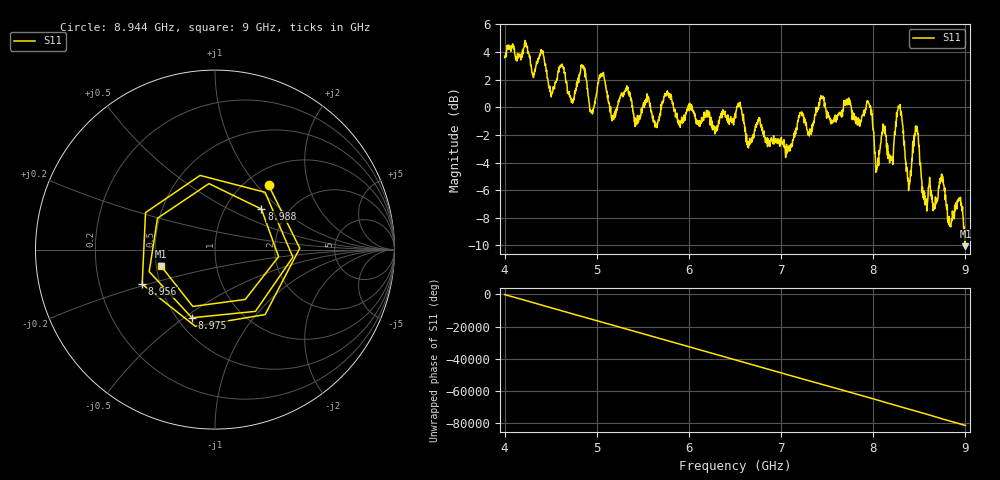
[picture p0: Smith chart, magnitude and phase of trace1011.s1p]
! Created with skrf 1.8.0 (http://scikit-rf.org).
# Hz S RI R 50.0
!freq ReS11 ImS11
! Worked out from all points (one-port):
!   1601 points, 4 GHz to 9 GHz, reference 50 ohm
!   lowest |S11| = -10.1 dB at 9 GHz (marker M1), VSWR 1.92, Z = 26.5 - j5.39 ohm
!   |S11| at or under -10 dB: 8.999763 GHz to end of sweep
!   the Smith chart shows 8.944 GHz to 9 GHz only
!   S11 on the Smith chart (normalised r, x): 8.944 GHz: 1.26, +1.16; 8.956 GHz: 0.40, -0.19; 8.975 GHz: 0.59, -0.54; 8.988 GHz: 1.47, +0.75; 9 GHz: 0.53, -0.11
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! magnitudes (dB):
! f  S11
! 4 GHz  3.6
! 4.403 GHz  4.1
! 4.506 GHz  0.8
! 4.625 GHz  3.1
! 4.731 GHz  0.4
! 4.853 GHz  3.0
! 4.944 GHz  -0.4
! 5.05 GHz  2.2
! 5.172 GHz  -0.6
! 5.25 GHz  0.6
! 5.875 GHz  -0.7
! 6.5 GHz  -0.7
! 7.125 GHz  -2.4
! 7.441 GHz  0.7
! 7.75 GHz  0.2
! 7.956 GHz  0.2
! 8.041 GHz  -4.4
! 8.112 GHz  -1.5
! 8.194 GHz  -3.8
! 8.288 GHz  0.0
! 8.375 GHz  -5.2
! 8.466 GHz  -1.4
! 8.562 GHz  -6.4
! 8.944 GHz  -6.6
! 8.956 GHz  -6.9
! 8.975 GHz  -7.9
! 8.988 GHz  -9.3
! 9 GHz  -10.1
